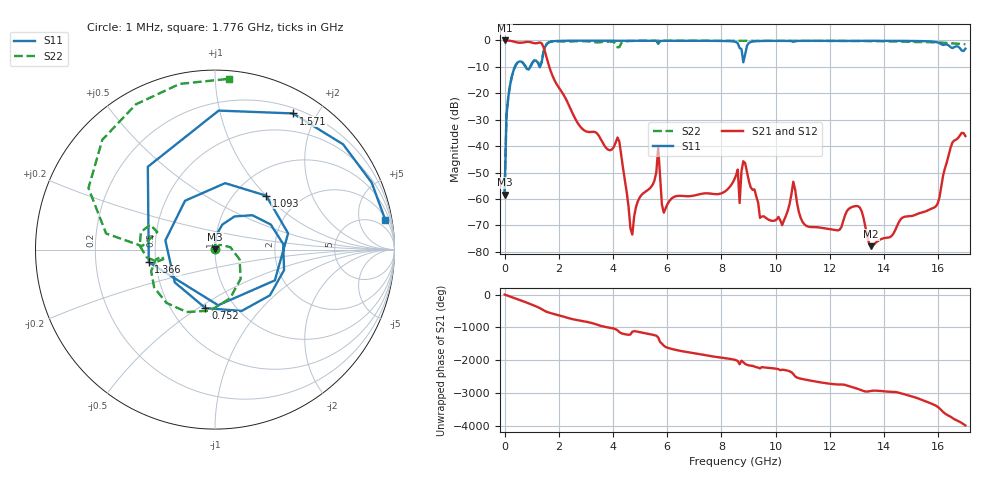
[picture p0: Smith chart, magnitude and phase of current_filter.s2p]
# GHz S RI R 50
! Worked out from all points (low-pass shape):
!   250 points, 1 MHz to 17 GHz, reference 50 ohm
!   highest |S21| = -0.01 dB at 1 MHz (marker M1); lowest = -77.9 dB at 13.52 GHz (marker M2)
!   |S21| within 3 dB of the highest: start of sweep to 1.451 GHz
!   lowest |S11| = -58.3 dB at 1 MHz (marker M3), VSWR 1.00, Z = 50.1 + j0.0569 ohm
!   |S11| at or under -10 dB: start of sweep to 383.4 MHz; 774.4 MHz to 951.6 MHz (177.2 MHz wide, 20.5 % of centre); 1.292 GHz to 1.305 GHz (13.16 MHz wide, 1.01 % of centre)
!   |S22| runs from -58.3 to -0.1 dB; largest |S21 - S12| = 5.6e-13
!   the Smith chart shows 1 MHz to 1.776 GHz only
!   S11 on the Smith chart (normalised r, x): 1 MHz: 1.00, +0.00; 752 MHz: 0.73, -0.54; 1.093 GHz: 1.38, +1.00; 1.366 GHz: 0.46, -0.07; 1.571 GHz: 0.26, +1.69; 1.776 GHz: 2, +11
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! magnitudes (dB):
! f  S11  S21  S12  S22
! 1 MHz  -58.3  0.0  0.0  -58.3
! 69.27 MHz  -28.5  0.0  0.0  -28.3
! 205.8 MHz  -16.8  -0.1  -0.1  -16.6
! 752 MHz  -9.6  -0.7  -0.7  -9.5
! 1.093 GHz  -7.7  -1.0  -1.0  -7.5
! 1.366 GHz  -8.5  -1.1  -1.1  -7.8
! 1.571 GHz  -1.2  -7.3  -7.3  -1.1
! 1.776 GHz  -0.3  -13.6  -13.6  -0.4
! 2.868 GHz  -0.1  -33.5  -33.5  -0.3
! 4.165 GHz  -0.1  -36.7  -36.7  -2.6
! 4.712 GHz  -0.1  -73.5  -73.5  -0.2
! 5.667 GHz  -1.3  -40.5  -40.5  -0.1
! 5.872 GHz  -0.1  -65.2  -65.2  -0.1
! 8.535 GHz  -0.6  -51.1  -51.1  -0.1
! 10.24 GHz  -0.2  -69.9  -69.9  -0.1
! 10.65 GHz  -0.5  -53.5  -53.5  -0.1
! 11.33 GHz  -0.1  -70.6  -70.6  -0.2
! 13.04 GHz  -0.2  -62.8  -62.8  -0.2
! 13.52 GHz  -0.1  -77.9  -77.9  -0.2
! 14.2 GHz  -0.2  -74.5  -74.5  -0.3
! 15.91 GHz  -0.6  -62.8  -62.8  -0.7
! 17 GHz  -3.1  -36.2  -36.2  -1.4
